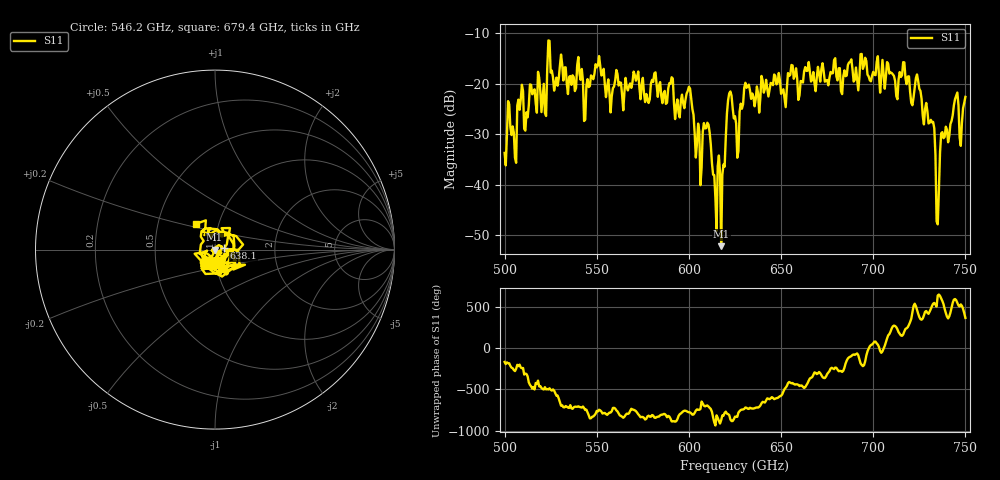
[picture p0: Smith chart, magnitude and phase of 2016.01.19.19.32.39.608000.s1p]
!Created with skrf (http://scikit-rf.org).
# GHz S RI R 50.0
!freq ReS11 ImS11
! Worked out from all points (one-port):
!   401 points, 500 GHz to 750 GHz, reference 50 ohm
!   lowest |S11| = -52.2 dB at 617.5 GHz (marker M1), VSWR 1.00, Z = 49.8 - j0.107 ohm
!   |S11| at or under -10 dB: start of sweep to end of sweep
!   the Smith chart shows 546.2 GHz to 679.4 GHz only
!   S11 on the Smith chart (normalised r, x): 546.2 GHz: 0.87, -0.12; 638.1 GHz: 1.11, +0.02; 679.4 GHz: 0.78, +0.23
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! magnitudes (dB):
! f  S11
! 500 GHz  -33.7
! 508.8 GHz  -23.2
! 511.9 GHz  -25.7
! 515 GHz  -22.1
! 521.2 GHz  -20.1
! 524.4 GHz  -11.6
! 531.2 GHz  -16.2
! 546.2 GHz  -20.5
! 562.5 GHz  -19.8
! 590 GHz  -20.1
! 593.8 GHz  -23.1
! 600 GHz  -20.6
! 605 GHz  -27.9
! 609.4 GHz  -28.8
! 613.8 GHz  -38.1
! 617.5 GHz  -52.2
! 621.9 GHz  -21.9
! 625 GHz  -26.4
! 631.2 GHz  -20.8
! 638.1 GHz  -25.7
! 656.2 GHz  -16.4
! 679.4 GHz  -15.0
! 687.5 GHz  -15.7
! 718.8 GHz  -18.6
! 731.9 GHz  -27.7
! 735 GHz  -47.8
! 738.1 GHz  -30.8
! 750 GHz  -22.6
